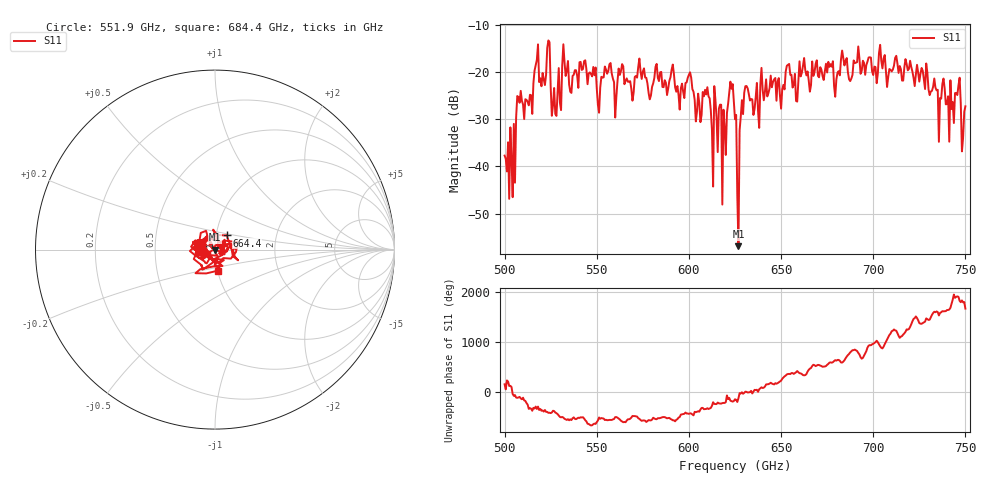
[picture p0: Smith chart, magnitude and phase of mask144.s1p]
!Created with skrf (http://scikit-rf.org).
# GHz S MA R 50.0
!freq magS11 angS11
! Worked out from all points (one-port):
!   401 points, 500 GHz to 750 GHz, reference 50 ohm
!   lowest |S11| = -56.9 dB at 626.9 GHz (marker M1), VSWR 1.00, Z = 49.9 - j0.118 ohm
!   |S11| at or under -10 dB: start of sweep to end of sweep
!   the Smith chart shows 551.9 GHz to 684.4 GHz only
!   S11 on the Smith chart (normalised r, x): 551.9 GHz: 0.87, -0.01; 664.4 GHz: 1.13, +0.18; 684.4 GHz: 1.00, -0.24
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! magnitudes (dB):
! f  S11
! 500 GHz  -37.7
! 505 GHz  -30.9
! 507.5 GHz  -25.2
! 513.8 GHz  -24.8
! 516.9 GHz  -18.5
! 520.6 GHz  -20.1
! 523.8 GHz  -13.2
! 526.9 GHz  -23.3
! 531.2 GHz  -18.6
! 542.5 GHz  -19.3
! 551.9 GHz  -23.2
! 562.5 GHz  -20.6
! 593.8 GHz  -22.9
! 610 GHz  -23.1
! 611.9 GHz  -28.1
! 619.4 GHz  -31.6
! 623.1 GHz  -23.5
! 625 GHz  -30.0
! 625.6 GHz  -29.0
! 626.9 GHz  -56.9
! 628.8 GHz  -25.9
! 631.2 GHz  -22.9
! 656.2 GHz  -23.2
! 664.4 GHz  -19.8
! 684.4 GHz  -18.5
! 687.5 GHz  -21.9
! 718.8 GHz  -19.6
! 750 GHz  -27.2
